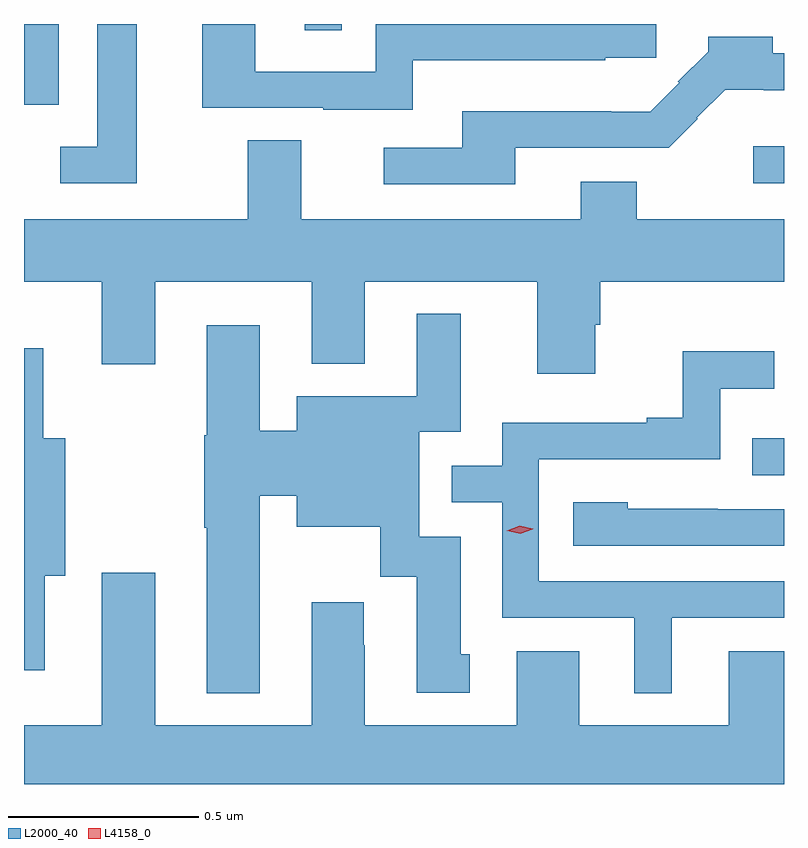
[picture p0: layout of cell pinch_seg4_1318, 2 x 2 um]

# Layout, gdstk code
import gdstk
lib = gdstk.Library(unit=1e-6, precision=1e-09)
def R(c, l, rs):  # rectangles x0, y0, x1, y1
    for r in rs: c.add(gdstk.rectangle(r[:2], r[2:], *l))
def P(c, l, *ps):  # polygons
    for p in ps: c.add(gdstk.Polygon(p, *l))
L2000_40 = (2000, 40)
L4158_0 = (4158, 0)

pinch_seg4_1318 = lib.new_cell('pinch_seg4_1318')
R(pinch_seg4_1318, L2000_40, [(303.841,760.347,303.924,760.444), (303.843,761.115,303.924,761.212), (301.924,761.322,302.016,761.534), (302.663,761.517,302.76,761.534)])
P(pinch_seg4_1318, L2000_40, [(302.221,761.534),(302.117,761.534),(302.117,761.211),(302.019,761.211),(302.019,761.115),(302.221,761.115)],
  [(302.947,761.438),(303.453,761.438),(303.453,761.445),(303.588,761.445),(303.588,761.534),(302.85,761.534),(302.85,761.409),(302.532,761.409),(302.532,761.534),(302.393,761.534),(302.393,761.313),(302.711,761.313),(302.711,761.309),(302.947,761.309)],
  [(303.217,761.208),(303.621,761.208),(303.697,761.285),(303.695,761.287),(303.769,761.361),(303.871,761.361),(303.871,761.36),(303.924,761.36),(303.924,761.457),(303.895,761.457),(303.895,761.5),(303.724,761.5),(303.724,761.461),(303.645,761.382),(303.648,761.379),(303.572,761.303),(303.47,761.303),(303.47,761.305),(303.077,761.305),(303.077,761.208),(302.871,761.208),(302.871,761.112),(303.217,761.112)],
  [(303.427,760.743),(303.44,760.743),(303.44,760.856),(303.924,760.856),(303.924,761.02),(303.537,761.02),(303.537,761.119),(303.389,761.119),(303.389,761.02),(302.653,761.02),(302.653,761.228),(302.513,761.228),(302.513,761.02),(301.924,761.02),(301.924,760.856),(302.129,760.856),(302.129,760.638),(302.269,760.638),(302.269,760.856),(302.681,760.856),(302.681,760.64),(302.821,760.64),(302.821,760.856),(303.275,760.856),(303.275,760.614),(303.427,760.614)],
  [(302.545,760.292),(302.642,760.292),(302.642,760.211),(302.861,760.211),(302.861,760.08),(302.957,760.08),(302.957,759.774),(303.097,759.774),(303.097,759.876),(303.073,759.876),(303.073,760.185),(302.964,760.185),(302.964,760.461),(303.073,760.461),(303.073,760.771),(302.957,760.771),(302.957,760.555),(302.642,760.555),(302.642,760.464),(302.545,760.464),(302.545,760.741),(302.405,760.741),(302.405,760.452),(302.398,760.452),(302.398,760.208),(302.405,760.208),(302.405,759.773),(302.545,759.773)],
  [(301.978,760.082),(302.032,760.082),(302.032,760.444),(301.975,760.444),(301.975,760.681),(301.924,760.681),(301.924,759.834),(301.978,759.834)],
  [(303.628,759.972),(303.924,759.972),(303.924,760.068),(303.279,760.068),(303.279,760.389),(303.756,760.389),(303.756,760.574),(303.898,760.574),(303.898,760.673),(303.658,760.673),(303.658,760.498),(303.563,760.498),(303.563,760.485),(303.183,760.485),(303.183,760.371),(303.05,760.371),(303.05,760.275),(303.183,760.275),(303.183,759.972),(303.53,759.972),(303.53,759.773),(303.628,759.773)],
  [(303.924,760.257),(303.749,760.257),(303.749,760.258),(303.513,760.258),(303.513,760.276),(303.369,760.276),(303.369,760.161),(303.924,760.161)],
  [(302.269,760.09),(302.129,760.09),(302.129,759.688),(301.924,759.688),(301.924,759.534),(303.924,759.534),(303.924,759.883),(303.779,759.883),(303.779,759.688),(303.385,759.688),(303.385,759.883),(303.221,759.883),(303.221,759.688),(302.821,759.688),(302.821,759.899),(302.818,759.899),(302.818,760.012),(302.681,760.012),(302.681,759.688),(302.269,759.688)])
P(pinch_seg4_1318, L4158_0, [(303.23,760.193),(303.195,760.2),(303.195,760.2),(303.195,760.2),(303.228,760.213),(303.263,760.206),(303.264,760.206),(303.263,760.205)])

lib.write_gds('pinch_seg4_1318.gds')
